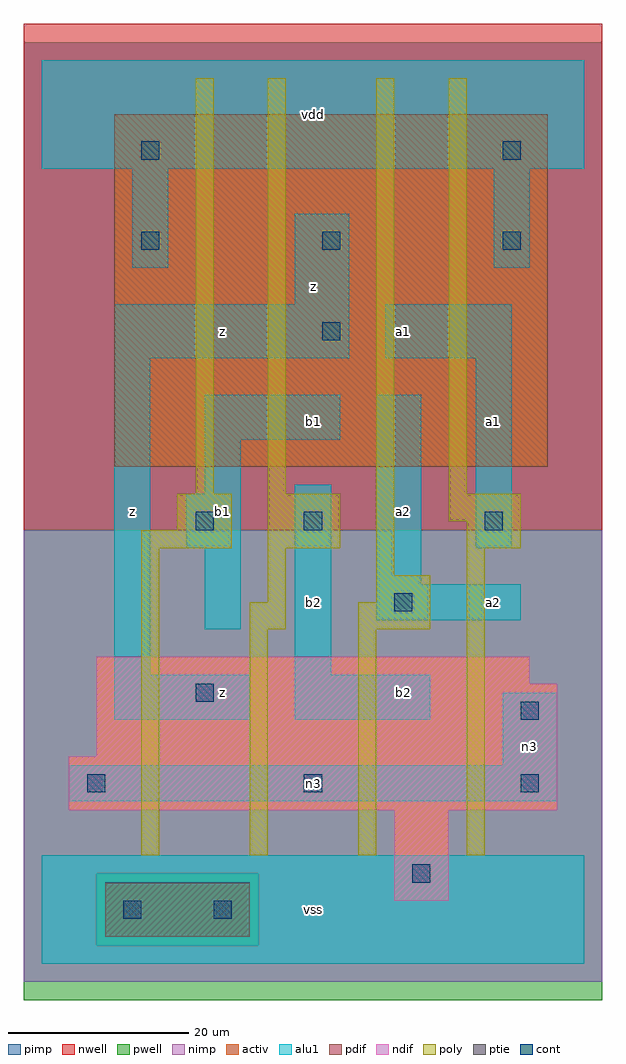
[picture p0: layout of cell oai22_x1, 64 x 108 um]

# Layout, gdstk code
import gdstk
lib = gdstk.Library(unit=1e-6, precision=1e-09)
def R(c, l, rs):  # rectangles x0, y0, x1, y1
    for r in rs: c.add(gdstk.rectangle(r[:2], r[2:], *l))
def A(c, l, x, y, w, h, nx, ny, dx, dy):  # array of equal rectangles
    R(c, l, [(x+i*dx, y+j*dy, x+i*dx+w, y+j*dy+h) for i in range(nx) for j in range(ny)])
ndif = (3, 0)
pdif = (4, 0)
ptie = (6, 0)
cont = (25, 0)
pwell = (41, 0)
nwell = (42, 0)
activ = (43, 0)
pimp = (44, 0)
nimp = (45, 0)
poly = (46, 0)
alu1 = (49, 0)

oai22_x1 = lib.new_cell('oai22_x1')
R(oai22_x1, ndif, [(39,7,45,17), (3,17,57,23), (6,23,57,31), (6,31,54,34)])
R(oai22_x1, pdif, [(8,55,56,94)])
R(oai22_x1, ptie, [(7,3,23,9)])
A(oai22_x1, cont, 5, 19, 2, 2, 3, 1, 24, 0)
A(oai22_x1, cont, 11, 79, 2, 2, 3, 1, 20, 0)
R(oai22_x1, cont, [(9,5,11,7), (19,5,21,7), (41,9,43,11), (53,27,55,29), (17,29,19,31), (39,39,41,41), (17,48,19,50), (29,48,31,50), (49,48,51,50), (31,69,33,71), (11,89,13,91), (51,89,53,91)])
R(oai22_x1, pwell, [(-2,-4,62,48)])
R(oai22_x1, nwell, [(-2,48,62,104)])
R(oai22_x1, activ, [(7,3,23,9), (39,7,45,17), (3,17,57,23), (6,23,57,31), (6,31,54,34), (8,55,56,94)])
R(oai22_x1, pimp, [(6,2,24,10), (-2,48,62,102)])
R(oai22_x1, nimp, [(-2,-2,62,2), (-2,2,6,10), (24,2,62,10), (-2,10,62,48)])
R(oai22_x1, poly, [(11,12,13,46), (23,12,25,37), (35,12,37,37), (47,12,49,46), (23,37,27,40), (35,37,43,40), (25,40,27,46), (37,40,43,43), (37,43,39,98), (11,46,21,48), (25,46,33,52), (47,46,53,49), (15,48,21,52), (45,49,53,52), (17,52,19,98), (25,52,27,98), (45,52,47,98)])
R(oai22_x1, alu1, [(0,0,60,12), (3,18,57,22), (51,22,57,30), (8,27,23,32), (28,27,43,32), (8,32,12,67), (28,32,32,53), (18,37,22,46), (37,38,53,42), (37,42,42,63), (16,46,22,52), (48,46,52,67), (18,52,22,58), (18,58,33,63), (8,67,34,73), (38,67,52,73), (28,73,34,83), (10,77,14,88), (50,77,54,88), (0,88,60,100)])
oai22_x1.add(gdstk.Label('z', (20,30), layer=49, texttype=0))
oai22_x1.add(gdstk.Label('z', (10,50), layer=49, texttype=0))
oai22_x1.add(gdstk.Label('b1', (20,50), layer=49, texttype=0))
oai22_x1.add(gdstk.Label('z', (20,70), layer=49, texttype=0))
oai22_x1.add(gdstk.Label('vss', (30,6), layer=49, texttype=0))
oai22_x1.add(gdstk.Label('b2', (30,40), layer=49, texttype=0))
oai22_x1.add(gdstk.Label('b1', (30,60), layer=49, texttype=0))
oai22_x1.add(gdstk.Label('z', (30,75), layer=49, texttype=0))
oai22_x1.add(gdstk.Label('vdd', (30,94), layer=49, texttype=0))
oai22_x1.add(gdstk.Label('b2', (40,30), layer=49, texttype=0))
oai22_x1.add(gdstk.Label('a2', (40,50), layer=49, texttype=0))
oai22_x1.add(gdstk.Label('a1', (40,70), layer=49, texttype=0))
oai22_x1.add(gdstk.Label('n3', (54,24), layer=49, texttype=0))
oai22_x1.add(gdstk.Label('n3', (30,20), layer=49, texttype=0))
oai22_x1.add(gdstk.Label('a2', (50,40), layer=49, texttype=0))
oai22_x1.add(gdstk.Label('a1', (50,60), layer=49, texttype=0))

lib.write_gds('oai22_x1.gds')
